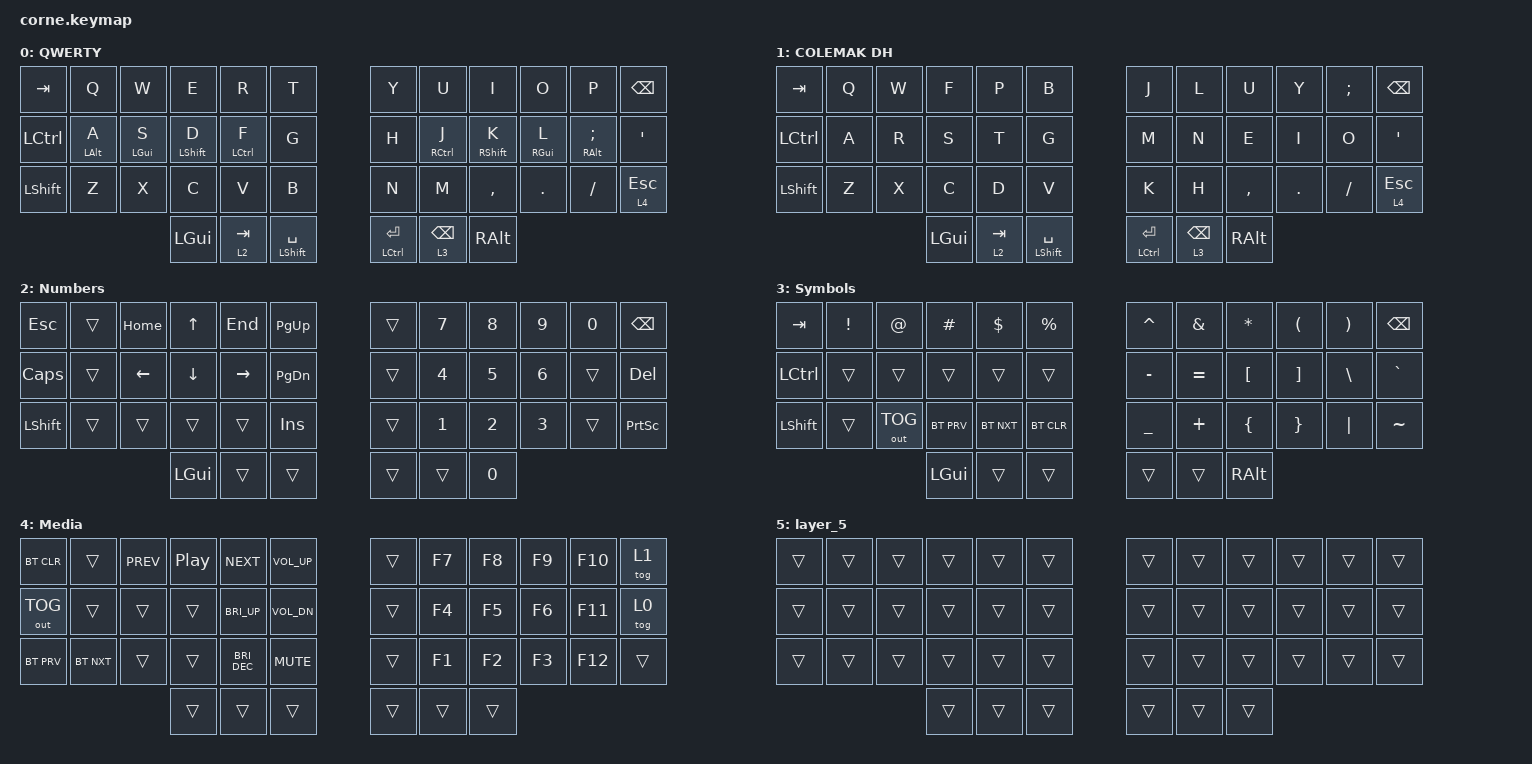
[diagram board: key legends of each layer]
/*
 * Copyright (c) 2020 The ZMK Contributors
 *
 * SPDX-License-Identifier: MIT
 */

#include <behaviors.dtsi>
#include <dt-bindings/zmk/bt.h>
#include <dt-bindings/zmk/keys.h>
#include <dt-bindings/zmk/outputs.h>

/ {
    behaviors {
        hmrl: hmrl {
            compatible = "zmk,behavior-hold-tap";
            label = "HMRL";
            bindings = <&kp>, <&kp>;

            #binding-cells = <2>;
            tapping-term-ms = <300>;
            quick-tap-ms = <175>;
            require-prior-idle-ms = <150>;
            flavor = "balanced";
            hold-trigger-on-release;
            hold-trigger-key-positions = <6 7 8 9 10 11 18 19 20 21 22 23 30 31 32 33 34 35 39 40 41 36 37 38>;
        };

        hmrr: hmrr {
            compatible = "zmk,behavior-hold-tap";
            label = "HMRR";
            bindings = <&kp>, <&kp>;

            #binding-cells = <2>;
            tapping-term-ms = <300>;
            quick-tap-ms = <175>;
            require-prior-idle-ms = <150>;
            flavor = "balanced";
            hold-trigger-key-positions = <0 1 2 3 4 5 12 13 14 15 16 17 24 25 26 27 28 29 36 37 38 39 40 41>;
            hold-trigger-on-release;
        };
    };

    keymap {
        compatible = "zmk,keymap";

        qwerty_layer {
            display-name = "QWERTY";
            bindings = <
&kp TAB     &kp Q             &kp W             &kp E               &kp R          &kp T               &kp Y            &kp U            &kp I                &kp O              &kp P                      &kp BACKSPACE
&kp LCTRL   &hmrl LEFT_ALT A  &hmrl LEFT_GUI S  &hmrl LEFT_SHIFT D  &hmrl LCTRL F  &kp G               &kp H            &hmrr RCTRL J    &hmrr RIGHT_SHIFT K  &hmrr RIGHT_GUI L  &hmrr RIGHT_ALT SEMICOLON  &kp SQT
&kp LSHIFT  &kp Z             &kp X             &kp C               &kp V          &kp B               &kp N            &kp M            &kp COMMA            &kp DOT            &kp FSLH                   &lt 4 ESCAPE
                                                &kp LGUI            &lt 2 TAB      &mt LSHIFT SPACE    &mt LCTRL ENTER  &lt 3 BACKSPACE  &kp RALT
            >;
        };

        colemak_layer {
            display-name = "COLEMAK DH";
            bindings = <
&kp TAB     &kp Q  &kp W  &kp F     &kp P      &kp B               &kp J            &kp L            &kp U      &kp Y    &kp SEMICOLON  &kp BACKSPACE
&kp LCTRL   &kp A  &kp R  &kp S     &kp T      &kp G               &kp M            &kp N            &kp E      &kp I    &kp O          &kp SQT
&kp LSHIFT  &kp Z  &kp X  &kp C     &kp D      &kp V               &kp K            &kp H            &kp COMMA  &kp DOT  &kp FSLH       &lt 4 ESCAPE
                          &kp LGUI  &lt 2 TAB  &mt LSHIFT SPACE    &mt LCTRL ENTER  &lt 3 BACKSPACE  &kp RALT
            >;
        };

        lower_layer {
            display-name = "Numbers";

            // -----------------------------------------------------------------------------------------
            // |  TAB |  1  |  2  |  3  |  4  |  5  |   |  6  |  7  |  8  |  9  |  0  | BSPC |
            // | BTCLR| BT1 | BT2 | BT3 | BT4 | BT5 |   | LFT | DWN |  UP | RGT |     |      |
            // | SHFT |     |     |     |     |     |   |     |     |     |     |     |      |
            //                    | GUI |     | SPC |   | ENT |     | ALT |

            bindings = <
&kp ESC       &trans  &kp HOME  &kp UP    &kp END    &kp PAGE_UP      &trans  &kp N7        &kp N8        &kp N9        &kp NUMBER_0  &kp BSPC
&kp CAPSLOCK  &trans  &kp LEFT  &kp DOWN  &kp RIGHT  &kp PAGE_DOWN    &trans  &kp NUMBER_4  &kp N5        &kp NUMBER_6  &trans        &kp DELETE
&kp LSHFT     &trans  &trans    &trans    &trans     &kp INS          &trans  &kp NUMBER_1  &kp NUMBER_2  &kp NUMBER_3  &trans        &kp PRINTSCREEN
                                &kp LGUI  &trans     &trans           &trans  &trans        &kp N0
            >;
        };

        raise_layer {
            display-name = "Symbols";

            // -----------------------------------------------------------------------------------------
            // |  TAB |  !  |  @  |  #  |  $  |  %  |   |  ^  |  &  |  *  |  (  |  )  | BSPC |
            // | CTRL |     |     |     |     |     |   |  -  |  =  |  [  |  ]  |  \  |  `   |
            // | SHFT |     |     |     |     |     |   |  _  |  +  |  {  |  }  | "|" |  ~   |
            //                    | GUI |     | SPC |   | ENT |     | ALT |

            bindings = <
&kp TAB     &kp EXCL  &kp AT        &kp HASH    &kp DLLR    &kp PRCNT     &kp CARET  &kp AMPS   &kp ASTRK  &kp LPAR  &kp RPAR  &kp BSPC
&kp LCTRL   &trans    &trans        &trans      &trans      &trans        &kp MINUS  &kp EQUAL  &kp LBKT   &kp RBKT  &kp BSLH  &kp GRAVE
&kp LSHIFT  &trans    &out OUT_TOG  &bt BT_PRV  &bt BT_NXT  &bt BT_CLR    &kp UNDER  &kp PLUS   &kp LBRC   &kp RBRC  &kp PIPE  &kp TILDE
                                    &kp LGUI    &trans      &trans        &trans     &trans     &kp RALT
            >;
        };

        media_layer {
            display-name = "Media";
            bindings = <
&bt BT_CLR    &trans      &kp C_PREV  &kp C_PLAY_PAUSE  &kp C_NEXT            &kp C_VOLUME_UP    &trans  &kp F7  &kp F8  &kp F9  &kp F10  &tog 1
&out OUT_TOG  &trans      &trans      &trans            &kp C_BRI_UP          &kp C_VOL_DN       &trans  &kp F4  &kp F5  &kp F6  &kp F11  &tog 0
&bt BT_PRV    &bt BT_NXT  &trans      &trans            &kp C_BRIGHTNESS_DEC  &kp C_MUTE         &trans  &kp F1  &kp F2  &kp F3  &kp F12  &trans
                                      &trans            &trans                &trans             &trans  &trans  &trans
            >;
        };

        layer_5 {
            bindings = <
&trans  &trans  &trans  &trans  &trans  &trans    &trans  &trans  &trans  &trans  &trans  &trans
&trans  &trans  &trans  &trans  &trans  &trans    &trans  &trans  &trans  &trans  &trans  &trans
&trans  &trans  &trans  &trans  &trans  &trans    &trans  &trans  &trans  &trans  &trans  &trans
                        &trans  &trans  &trans    &trans  &trans  &trans
            >;
        };
    };

    conditional_layers { compatible = "zmk,conditional-layers"; };
};
